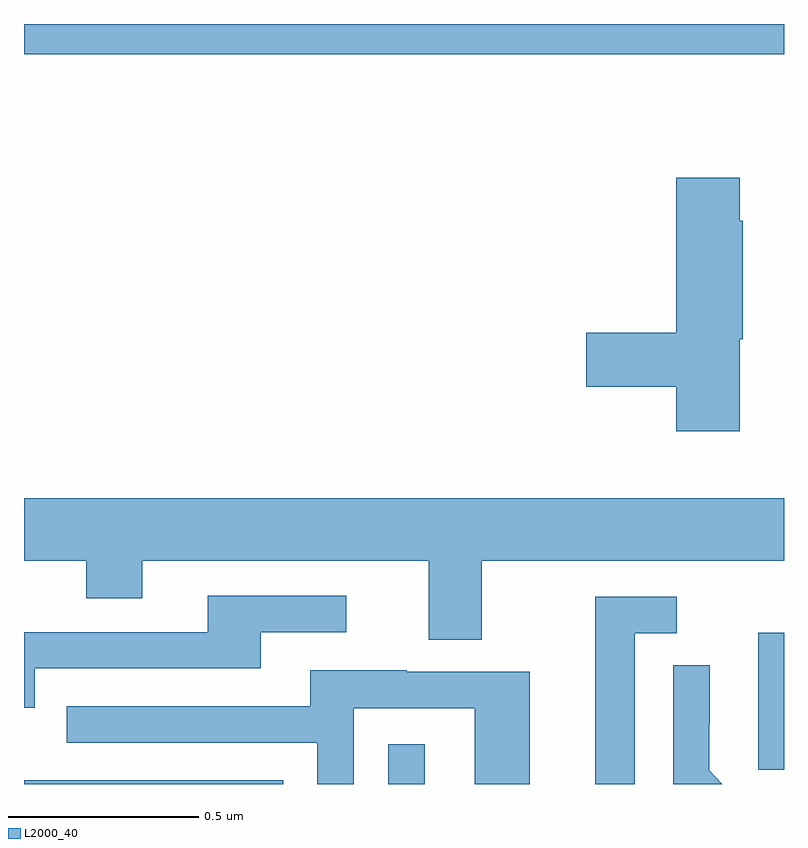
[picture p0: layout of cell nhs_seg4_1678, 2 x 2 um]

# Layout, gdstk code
import gdstk
lib = gdstk.Library(unit=1e-6, precision=1e-09)
def R(c, l, rs):  # rectangles x0, y0, x1, y1
    for r in rs: c.add(gdstk.rectangle(r[:2], r[2:], *l))
def P(c, l, *ps):  # polygons
    for p in ps: c.add(gdstk.Polygon(p, *l))
L2000_40 = (2000, 40)

nhs_seg4_1678 = lib.new_cell('nhs_seg4_1678')
R(nhs_seg4_1678, L2000_40, [(131,794.9,131.682,794.91), (131.958,794.9,132.055,795.004), (132.932,794.937,133,795.298), (131,796.82,133,796.9)])
P(nhs_seg4_1678, L2000_40, [(132.883,796.071),(132.891,796.071),(132.891,796.382),(132.883,796.382),(132.883,796.495),(132.716,796.495),(132.716,796.088),(132.48,796.088),(132.48,795.946),(132.716,795.946),(132.716,795.828),(132.883,795.828)],
  [(132.205,795.488),(133,795.488),(133,795.652),(131,795.652),(131,795.488),(131.164,795.488),(131.164,795.389),(131.311,795.389),(131.311,795.488),(132.065,795.488),(132.065,795.28),(132.205,795.28)],
  [(131.028,795.204),(131.623,795.204),(131.623,795.3),(131.848,795.3),(131.848,795.396),(131.483,795.396),(131.483,795.3),(131,795.3),(131,795.101),(131.028,795.101)],
  [(132.607,795.297),(132.718,795.297),(132.718,795.393),(132.503,795.393),(132.503,794.9),(132.607,794.9)],
  [(132.803,794.936),(132.803,795.058),(132.804,795.058),(132.804,795.212),(132.708,795.212),(132.708,794.9),(132.838,794.9)],
  [(131.868,795.099),(132.186,795.099),(132.186,794.9),(132.331,794.9),(132.331,795.195),(132.007,795.195),(132.007,795.199),(131.753,795.199),(131.753,795.105),(131.113,795.105),(131.113,795.009),(131.772,795.009),(131.772,794.9),(131.868,794.9)])

lib.write_gds('nhs_seg4_1678.gds')
